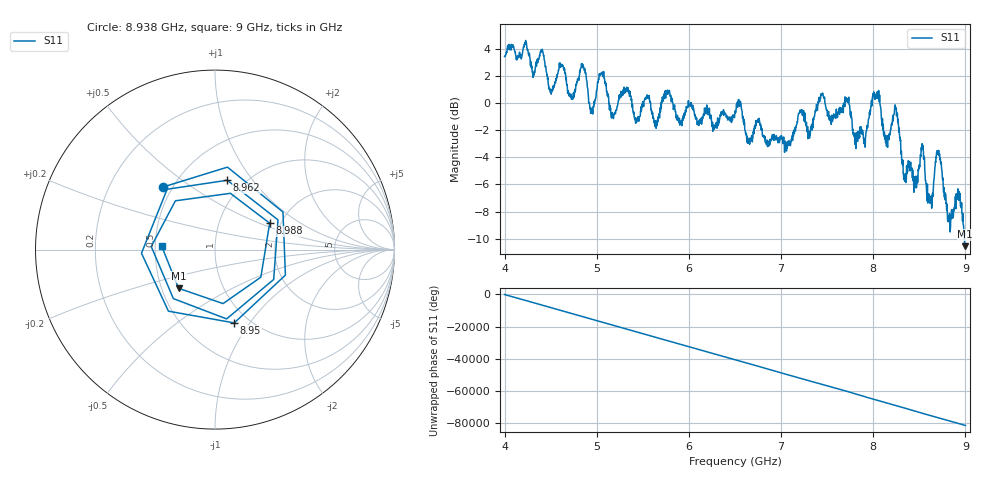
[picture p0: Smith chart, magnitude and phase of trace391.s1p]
! Created with skrf 1.8.0 (http://scikit-rf.org).
# Hz S RI R 50.0
!freq ReS11 ImS11
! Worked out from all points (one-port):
!   1601 points, 4 GHz to 9 GHz, reference 50 ohm
!   lowest |S11| = -10.6 dB at 8.997 GHz (marker M1), VSWR 1.84, Z = 30.5 - j14.4 ohm
!   |S11| at or under -10 dB: 8.989602 GHz to end of sweep
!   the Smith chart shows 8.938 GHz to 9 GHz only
!   S11 on the Smith chart (normalised r, x): 8.938 GHz: 0.45, +0.39; 8.95 GHz: 0.85, -0.85; 8.962 GHz: 0.83, +0.76; 8.988 GHz: 1.75, +0.58; 9 GHz: 0.54, +0.02
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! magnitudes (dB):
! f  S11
! 4 GHz  3.5
! 4.625 GHz  2.8
! 4.725 GHz  0.3
! 4.856 GHz  2.7
! 4.944 GHz  -0.4
! 5.05 GHz  2.2
! 5.162 GHz  -1.1
! 5.25 GHz  0.6
! 5.875 GHz  -0.9
! 6.5 GHz  -0.8
! 7.125 GHz  -2.7
! 7.434 GHz  0.6
! 7.75 GHz  -0.8
! 7.903 GHz  -2.6
! 8.044 GHz  0.4
! 8.15 GHz  -2.4
! 8.244 GHz  -0.4
! 8.375 GHz  -4.7
! 8.534 GHz  -3.3
! 8.616 GHz  -6.9
! 8.706 GHz  -3.6
! 8.822 GHz  -8.5
! 8.938 GHz  -6.9
! 8.95 GHz  -7.5
! 8.962 GHz  -8.1
! 8.988 GHz  -9.4
! 8.997 GHz  -10.6
! 9 GHz  -10.5
